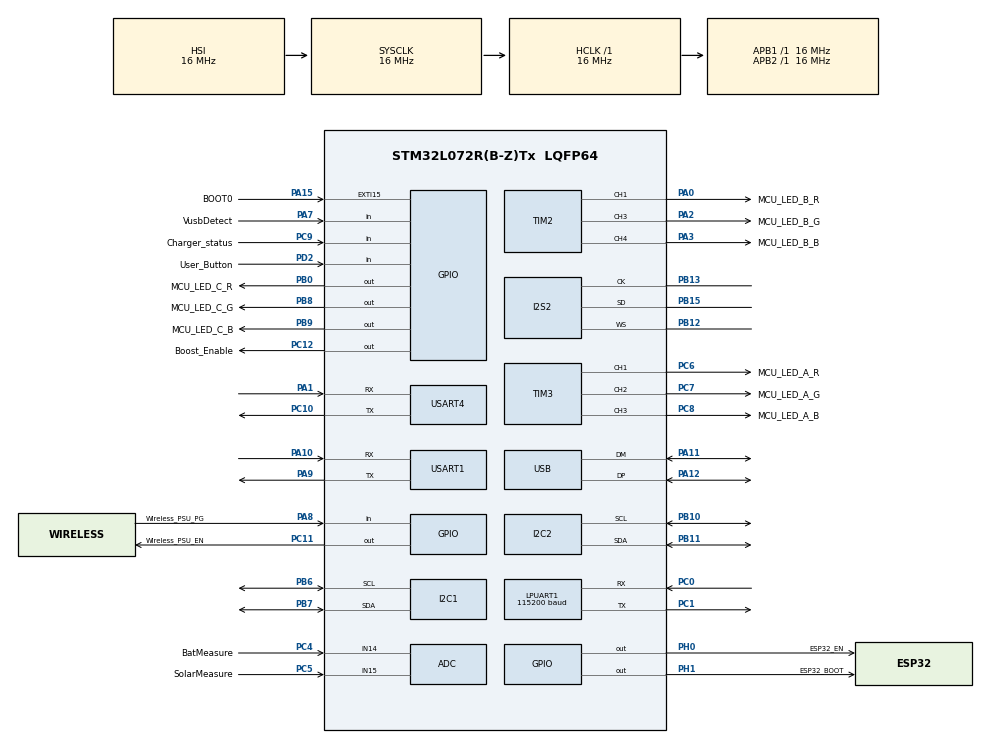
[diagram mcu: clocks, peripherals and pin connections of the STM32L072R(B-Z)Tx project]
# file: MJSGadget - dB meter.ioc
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ADC.DiscontinuousConvMode=ENABLE
Dma.I2C1_RX.1.Direction=DMA_PERIPH_TO_MEMORY
Dma.I2C1_RX.1.Instance=DMA1_Channel3
Dma.I2C1_RX.1.MemDataAlignment=DMA_MDATAALIGN_BYTE
Dma.I2C1_RX.1.MemInc=DMA_MINC_ENABLE
Dma.I2C1_RX.1.Mode=DMA_NORMAL
Dma.I2C1_RX.1.PeriphDataAlignment=DMA_PDATAALIGN_BYTE
Dma.I2C1_RX.1.PeriphInc=DMA_PINC_DISABLE
Dma.I2C1_RX.1.Priority=DMA_PRIORITY_LOW
Dma.I2C1_TX.2.Direction=DMA_MEMORY_TO_PERIPH
Dma.I2C1_TX.2.Instance=DMA1_Channel2
Dma.I2C1_TX.2.MemDataAlignment=DMA_MDATAALIGN_BYTE
Dma.I2C1_TX.2.MemInc=DMA_MINC_ENABLE
Dma.I2C1_TX.2.Mode=DMA_NORMAL
Dma.I2C1_TX.2.PeriphDataAlignment=DMA_PDATAALIGN_BYTE
Dma.I2C1_TX.2.PeriphInc=DMA_PINC_DISABLE
Dma.I2C1_TX.2.Priority=DMA_PRIORITY_LOW
Dma.Request0=SPI2_RX
Dma.Request1=I2C1_RX
Dma.Request2=I2C1_TX
Dma.Request3=USART4_RX
Dma.Request4=USART4_TX
Dma.SPI2_RX.0.Direction=DMA_PERIPH_TO_MEMORY
Dma.SPI2_RX.0.Instance=DMA1_Channel4
Dma.SPI2_RX.0.MemDataAlignment=DMA_MDATAALIGN_HALFWORD
Dma.SPI2_RX.0.MemInc=DMA_MINC_ENABLE
Dma.SPI2_RX.0.Mode=DMA_CIRCULAR
Dma.SPI2_RX.0.PeriphDataAlignment=DMA_PDATAALIGN_HALFWORD
Dma.SPI2_RX.0.PeriphInc=DMA_PINC_DISABLE
Dma.SPI2_RX.0.Priority=DMA_PRIORITY_LOW
Dma.USART4_RX.3.Direction=DMA_PERIPH_TO_MEMORY
Dma.USART4_RX.3.Instance=DMA1_Channel6
Dma.USART4_RX.3.MemDataAlignment=DMA_MDATAALIGN_BYTE
Dma.USART4_RX.3.MemInc=DMA_MINC_ENABLE
Dma.USART4_RX.3.Mode=DMA_CIRCULAR
Dma.USART4_RX.3.PeriphDataAlignment=DMA_PDATAALIGN_BYTE
Dma.USART4_RX.3.PeriphInc=DMA_PINC_DISABLE
Dma.USART4_RX.3.Priority=DMA_PRIORITY_LOW
Dma.USART4_TX.4.Direction=DMA_MEMORY_TO_PERIPH
Dma.USART4_TX.4.Instance=DMA1_Channel7
Dma.USART4_TX.4.MemDataAlignment=DMA_MDATAALIGN_BYTE
Dma.USART4_TX.4.MemInc=DMA_MINC_ENABLE
Dma.USART4_TX.4.Mode=DMA_NORMAL
Dma.USART4_TX.4.PeriphDataAlignment=DMA_PDATAALIGN_BYTE
Dma.USART4_TX.4.PeriphInc=DMA_PINC_DISABLE
Dma.USART4_TX.4.Priority=DMA_PRIORITY_LOW
I2C1.NoStretchMode=I2C_NOSTRETCH_DISABLE
I2C1.Timing=0x00503D58
I2C2.Timing=0x00503D58
I2S2.AudioFreq=I2S_AUDIOFREQ_16K
I2S2.CPOL=I2S_CPOL_LOW
I2S2.DataFormat=I2S_DATAFORMAT_24B
I2S2.ErrorAudioFreq=-2.34 %
I2S2.Instance=SPI$Index
I2S2.Mode=I2S_MODE_MASTER_RX
I2S2.RealAudioFreq=15.625 KHz
I2S2.Standard=I2S_STANDARD_PHILIPS
I2S2.VirtualMode=I2S_MODE_MASTER
LPUART1.BaudRate=115200
LPUART1.OverrunDisableParam=UART_ADVFEATURE_OVERRUN_DISABLE
LPUART1.SwapParam=UART_ADVFEATURE_SWAP_ENABLE
LPUART1.WordLength=UART_WORDLENGTH_8B
Mcu.Family=STM32L0
Mcu.Name=STM32L072R(B-Z)Tx
Mcu.Package=LQFP64
NVIC.DMA1_Channel2_3_IRQn=true\:0\:0\:false\:false\:true\:false\:true\:true
NVIC.DMA1_Channel4_5_6_7_IRQn=true\:3\:0\:true\:false\:true\:false\:true\:true
NVIC.EXTI4_15_IRQn=true\:0\:0\:false\:false\:true\:true\:true\:true
NVIC.I2C1_IRQn=true\:0\:0\:false\:false\:true\:true\:true\:true
NVIC.RTC_IRQn=true\:0\:0\:false\:false\:true\:true\:true\:true
NVIC.USART1_IRQn=true\:0\:0\:false\:false\:true\:true\:true\:true
NVIC.USART4_5_IRQn=true\:0\:0\:false\:false\:true\:true\:true\:true
NVIC.USB_IRQn=true\:0\:0\:false\:false\:true\:false\:true\:true
PA0.GPIO_Label=MCU_LED_B_R
PA0.Signal=S_TIM2_CH1
PA1.Mode=Asynchronous
PA1.Signal=USART4_RX
PA10.Mode=Asynchronous
PA10.Signal=USART1_RX
PA11.Mode=Device
PA11.Signal=USB_DM
PA12.Mode=Device
PA12.Signal=USB_DP
PA13.Mode=Serial_Wire
PA13.Signal=SYS_SWDIO
PA14.Mode=Serial_Wire
PA14.Signal=SYS_SWCLK
PA15.GPIO_Label=BOOT0
PA15.Signal=GPXTI15
PA2.GPIO_Label=MCU_LED_B_G
PA2.Signal=S_TIM2_CH3
PA3.GPIO_Label=MCU_LED_B_B
PA3.Signal=S_TIM2_CH4
PA7.GPIO_Label=VusbDetect
PA7.Signal=GPIO_Input
PA8.GPIO_Label=Wireless_PSU_PG
PA8.Signal=GPIO_Input
PA9.Mode=Asynchronous
PA9.Signal=USART1_TX
PB0.GPIO_Label=MCU_LED_C_R
PB0.PinState=GPIO_PIN_SET
PB0.Signal=GPIO_Output
PB10.Mode=I2C
PB10.Signal=I2C2_SCL
PB11.Mode=I2C
PB11.Signal=I2C2_SDA
PB12.Mode=Half_Duplex_Master
PB12.Signal=I2S2_WS
PB13.Mode=Half_Duplex_Master
PB13.Signal=I2S2_CK
PB15.Mode=Half_Duplex_Master
PB15.Signal=I2S2_SD
PB6.Mode=I2C
PB6.Signal=I2C1_SCL
PB7.Mode=I2C
PB7.Signal=I2C1_SDA
PB8.GPIO_Label=MCU_LED_C_G
PB8.PinState=GPIO_PIN_SET
PB8.Signal=GPIO_Output
PB9.GPIO_Label=MCU_LED_C_B
PB9.PinState=GPIO_PIN_SET
PB9.Signal=GPIO_Output
PC0.Mode=Asynchronous
PC0.Signal=LPUART1_RX
PC1.Mode=Asynchronous
PC1.Signal=LPUART1_TX
PC10.Mode=Asynchronous
PC10.Signal=USART4_TX
PC11.GPIO_Label=Wireless_PSU_EN
PC11.PinState=GPIO_PIN_SET
PC11.Signal=GPIO_Output
PC12.GPIO_Label=Boost_Enable
PC12.Signal=GPIO_Output
PC14-OSC32_IN.Mode=LSE-External-Oscillator
PC14-OSC32_IN.Signal=RCC_OSC32_IN
PC15-OSC32_OUT.Mode=LSE-External-Oscillator
PC15-OSC32_OUT.Signal=RCC_OSC32_OUT
PC4.GPIO_Label=BatMeasure
PC4.Signal=SharedAnalog_PC4
PC5.GPIO_Label=SolarMeasure
PC5.Signal=SharedAnalog_PC5
PC6.GPIO_Label=MCU_LED_A_R
PC6.Signal=S_TIM3_CH1
PC7.GPIO_Label=MCU_LED_A_G
PC7.Signal=S_TIM3_CH2
PC8.GPIO_Label=MCU_LED_A_B
PC8.Signal=S_TIM3_CH3
PC9.GPIO_Label=Charger_status
PC9.Signal=GPIO_Input
PD2.GPIO_Label=User_Button
PD2.GPIO_PuPd=GPIO_PULLUP
PD2.Signal=GPIO_Input
PH0-OSC_IN.GPIO_Label=ESP32_EN
PH0-OSC_IN.PinState=GPIO_PIN_SET
PH0-OSC_IN.Signal=GPIO_Output
PH1-OSC_OUT.GPIO_Label=ESP32_BOOT
PH1-OSC_OUT.Signal=GPIO_Output
ProjectManager.HeapSize=0x100
ProjectManager.StackSize=0x400
ProjectManager.TargetToolchain=STM32CubeIDE
RCC.ADCFreq_Value=16000000
RCC.AHBFreq_Value=16000000
RCC.APB1Freq_Value=16000000
RCC.APB1TimFreq_Value=16000000
RCC.APB2Freq_Value=16000000
RCC.APB2TimFreq_Value=16000000
RCC.HCLKFreq_Value=16000000
RCC.HSE_VALUE=8000000
RCC.HSI16_VALUE=16000000
RCC.HSI48MClockSelection=RCC_USBCLKSOURCE_HSI48
RCC.HSI48_VALUE=48000000
RCC.HSI_VALUE=16000000
RCC.LSE_Drive_Capability=RCC_LSEDRIVE_MEDIUMHIGH
RCC.MSI_VALUE=2097000
RCC.RTCClockSelection=RCC_RTCCLKSOURCE_LSE
RCC.RTCClockSelectionVirtual=RCC_RTCCLKSOURCE_LSE
RCC.SYSCLKFreq_VALUE=16000000
RCC.SYSCLKSource=RCC_SYSCLKSOURCE_HSI
RCC.VCOOutputFreq_Value=48000000
RTC.Date=23
RTC.Format=RTC_FORMAT_BIN
RTC.Hours=13
RTC.Month=RTC_MONTH_NOVEMBER
RTC.WeekDay=RTC_WEEKDAY_SATURDAY
RTC.Year=24
SH.S_TIM2_CH1.0=TIM2_CH1,PWM Generation1 CH1
SH.S_TIM2_CH3.0=TIM2_CH3,PWM Generation3 CH3
SH.S_TIM2_CH4.0=TIM2_CH4,PWM Generation4 CH4
SH.S_TIM3_CH1.0=TIM3_CH1,PWM Generation1 CH1
SH.S_TIM3_CH2.0=TIM3_CH2,PWM Generation2 CH2
SH.S_TIM3_CH3.0=TIM3_CH3,PWM Generation3 CH3
SH.SharedAnalog_PC4.0=GPIO_Analog
SH.SharedAnalog_PC4.1=ADC_IN14,IN14
SH.SharedAnalog_PC5.0=GPIO_Analog
SH.SharedAnalog_PC5.1=ADC_IN15,IN15
TIM2.Channel-PWM\ Generation1\ CH1=TIM_CHANNEL_1
TIM2.Channel-PWM\ Generation3\ CH3=TIM_CHANNEL_3
TIM2.Channel-PWM\ Generation4\ CH4=TIM_CHANNEL_4
TIM3.Channel-PWM\ Generation1\ CH1=TIM_CHANNEL_1
TIM3.Channel-PWM\ Generation2\ CH2=TIM_CHANNEL_2
TIM3.Channel-PWM\ Generation3\ CH3=TIM_CHANNEL_3
TIM6.Prescaler=10
USART1.SwapParam=ADVFEATURE_SWAP_DISABLE
USART1.VirtualMode-Asynchronous=VM_ASYNC
USART4.SwapParam=ADVFEATURE_SWAP_DISABLE
USART4.VirtualMode-Asynchronous=VM_ASYNC
USB_DEVICE.CLASS_NAME_FS=CDC
USB_DEVICE.VirtualMode=Cdc
USB_DEVICE.VirtualModeFS=Cdc_FS
VP_RTC_VS_RTC_Activate.Mode=RTC_Enabled
VP_RTC_VS_RTC_Calendar.Mode=RTC_Calendar
VP_RTC_VS_RTC_WakeUp_intern.Mode=WakeUp
VP_TIM6_VS_ClockSourceINT.Mode=Enable_Timer
VP_USB_DEVICE_VS_USB_DEVICE_CDC_FS.Mode=CDC_FS
board=custom

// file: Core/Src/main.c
/* USER CODE BEGIN Header */
/**
  ******************************************************************************
  * @file           : main.c
  * @brief          : Main program body
  ******************************************************************************
  * @attention
  *
  * Copyright (c) 2024 STMicroelectronics.
  * All rights reserved.
  *
  * This software is licensed under terms that can be found in the LICENSE file
  * in the root directory of this software component.
  * If no LICENSE file comes with this software, it is provided AS-IS.
  *
  ******************************************************************************
  */
/* USER CODE END Header */
#include <aht2x.h>
#include "main.h"
#include "adc.h"
#include "dma.h"
#include "i2c.h"
#include "i2s.h"
#include "usart.h"
#include "rtc.h"
#include "tim.h"
#include "usb_device.h"
#include "gpio.h"

/* USER CODE BEGIN Includes */
#include "config.h"
#include "eeprom.h"
#include "microphone.h"
#include "I2CSensors.h"
#include "utils.h"
#include "measurement.h"
#include "globals.h"
#include "ESP.h"
#include "PowerUtils.h"
#include "usbd_cdc_if.h"
#include "statusCheck.h"
#include "RealTimeClock.h"
#include "sound_measurement.h"
#include "sen5x.h"
#include "sgp40.h"
#include "wsenHIDS.h"
#include "usbd_cdc_if.h"
#include "ssd1306_128x64_i2c.h"
#include "bmp280.h"

/* USER CODE END Includes */

/* USER CODE BEGIN PV */
  bool testDone = false;
  bool ESP_Programming = false;
  bool batteryEmpty = false;
  bool usbinitiated = USBD_FAIL;
  bool usblog = true;
  bool espfailshown = false;

  uint8_t sendpwremail = CLEAR;
  static bool priorUSBpluggedIn = false;
  static bool stlinkpwr = true;
  uint8_t MICstate;
  uint8_t ESPstate;
  bool waitforSamples = false;
  uint8_t count = 0;
  uint8_t hidscount = 0;
  uint8_t u1_rx_buff[16];  // rxbuffer for serial logger
  uint8_t RxData[UART_CDC_DMABUFFERSIZE] = {0};  //rx buffer for USB
  uint8_t sendpwrmaildate = 0;
  uint16_t IndexRxData = 0;
  uint32_t deviceTimeOut = 0;
  uint32_t LastRxTime = 0;
  uint32_t batteryReadTimer = 10000;
  uint32_t timeReadTimer = 0;
  uint32_t sleepTime = 0;
  uint16_t size = 0;

//  Battery_Status charge;
  extern DMA_HandleTypeDef hdma_spi2_rx;

  void check_cli_command();
/* USER CODE END PV */

void SystemClock_Config(void);
/* USER CODE BEGIN PFP */

void SetBatteryReadTimer(uint32_t ticks) {
  batteryReadTimer  = HAL_GetTick() + ticks;
}

void SetTestDone(){
  testDone = true;
  HAL_Delay(250);
  SetDBLED(false, false, true);
  SetStatusLED(LED_OFF, LED_OFF, LED_ON);
  SetVocLED(LED_OFF, LED_OFF, LED_ON);
  HAL_Delay(250);
  SetLEDsOff();
  InitDone();
}

void ESP_Programming_Read_Remaining_DMA()
{
  //ESP programmer section

  if (LastRxTime != 0 && ESP_Programming)
  {
    if ((LastRxTime + 100) < HAL_GetTick()) //120
    {
      HAL_UART_DMAPause(&hlpuart1);
      size = __HAL_DMA_GET_COUNTER(hlpuart1.hdmarx);
      if (size > (UART_CDC_DMABUFFERSIZE / 2))
      {
        size = UART_CDC_DMABUFFERSIZE - size;
      }
      else
      {
        size = (UART_CDC_DMABUFFERSIZE / 2) - size;
      }
      if (size > 0)
      {
        CDC_Transmit_FS(&RxData[IndexRxData], size);
        LastRxTime = 0;
        IndexRxData += size;
      }
      HAL_UART_DMAResume(&hlpuart1);
    }
  }
}
//void HAL_UART_RxCpltCallback(UART_HandleTypeDef *huart)
//{
//  // printf_USB("\r\nDMA counter Full: %d\r\nDMA size Full: %d\r\n", __HAL_DMA_GET_COUNTER(hlpuart1.hdmarx), size);
//  //printf_USB("DMA size Full: %d\r\n", size);
//
//  if (huart->Instance == LPUART1)
//  {
//    CDC_Transmit_FS(&RxData[IndexRxData], (UART_CDC_DMABUFFERSIZE / 2) - size);
//
//    size = 0;
//    IndexRxData = 0;
//    LastRxTime = HAL_GetTick();
//  }
//}
/* USER CODE END PFP */

int main(void)
{

  /* MCU Configuration--------------------------------------------------------*/

  /* Reset of all peripherals, Initializes the Flash interface and the Systick. */
  HAL_Init();

  /* Configure the system clock */
  SystemClock_Config();

  /* Initialize all configured peripherals */
  MX_GPIO_Init();
  MX_DMA_Init();
  MX_I2C1_Init();
  MX_I2S2_Init();
  MX_USART1_UART_Init();
  MX_I2C2_Init();
  MX_TIM2_Init();
  MX_TIM3_Init();
  MX_USART4_UART_Init();
  MX_ADC_Init();
  MX_USB_DEVICE_Init();
  MX_RTC_Init();
  MX_LPUART1_UART_Init();
  MX_TIM6_Init();
  /* USER CODE BEGIN 2 */
  if (Check_USB_PowerOn())
    while (HAL_GetTick() < 650);  // Wait for the USB to become ready

  // General TODO 's
	/*
	 * : Turn on heater if humidity is too high
	 * : LEDs indicator for air quality
	 * : Network not found? Sleep
	 */
  GPIO_InitPWMLEDs(&htim2, &htim3);
  Info("=-=-=-=-=-=WOTS Gadget started.=-=-=-=-=-=");
  BinaryReleaseInfo();
  ReadUint8ArrayEEprom(USBlogstatusConfigAddr, u1_rx_buff, 1);
  Info("usblog status: %s", u1_rx_buff[0]?"on":"off");
  usblog = (bool)u1_rx_buff[0];
  u1_rx_buff[0]= '\0';  //clean the misused buffer
  if(UserButton_Pressed()){
    EnableESPProg();
    ESP_Programming = true;
  }
  else {
    batteryChargeCheck();
//    batteryCharge = ReadBatteryVoltage();
    Error("Battery voltage is: %.02fV", batteryCharge);
#ifdef LARGEBATTERY
    if(batteryCharge <= 3.58) {
#else
    if(batteryCharge <= 3.68) {
#endif
      SetAllREDLED();
      Error("Battery voltage is critical: %.02fV, going in deep sleep. Waking for LED indication %s seconds", batteryCharge, DEEP_SLEEP);
      WalkAllRedLED();
#ifndef STLINK_V3PWR
      Enter_Stop_Mode_for_empty_battery(DEEP_SLEEP);
#endif
      }

  }
  SetVerboseLevel(VERBOSE_ALL);
  HAL_UART_Receive_IT(&huart1, u1_rx_buff, 1);
//  InitClock(&hrtc);

  if (!soundInit(&hdma_spi2_rx, &hi2s2, &htim6, DMA1_Channel4_5_6_7_IRQn)) {
    errorHandler(__func__, __LINE__, __FILE__);
  }
  Device_Init(&hi2c1, &hi2s2, &hadc, &huart4);
  deviceTimeOut = HAL_GetTick() + DEVICE_INIT_TIMEOUT;
  priorUSBpluggedIn = !Check_USB_PowerOn(); // force the status of the SGP40
  if (Check_USB_PowerOn()) {
    printf_USB("Input command followed by Enter or type Helpme\r\n");
  }
#ifdef STLINK_V3PWR
  sen5x_Power_Off(); // to prevent the sen5x and the ESP is during init of the ESP
#endif
  /* USER CODE END 2 */

  /* Infinite loop */
  /* USER CODE BEGIN WHILE */
  while (1) {
    if(TimestampIsReached(batteryReadTimer)){
      Battery_Upkeep();
      batteryReadTimer  = HAL_GetTick() + BATTERY_READ_CYCLE;
      showTime();
    }
    configCheck();
    if ((batteryStatus == BATTERY_LOW || batteryStatus == BATTERY_CRITICAL)  && !EspTurnedOn){
      WalkAllRedLED();
      Sensor.PM_measurementEnabled = false;
#ifdef USE_MAIL
      pwrmailTodaySend();
      if (((batteryStatus == BATTERY_LOW)  || (batteryStatus == BATTERY_CRITICAL)) && (sendpwremail == CLEAR) && !Check_USB_PowerOn()) {
        Debug("charge: %d, sendpwrmail: %d Check_USB_PowerOn(): %d", batteryStatus, sendpwremail, Check_USB_PowerOn());
        setModePowerMail();
        ESP_Upkeep();
      }
#endif
    }

#ifdef USE_MAIL
/*
    // ==== used for email testing at startup in case of a different mail provider
    if ((batteryCharge <= 4.170000) && (sendpwremail == CLEAR) && !EspTurnedOn && (ESPNTPTimeStamp != ESP_NTP_INIT_DELAY) && (!Check_USB_PowerOn())) {
      Debug("Battery voltage is: %fV", batteryCharge);
      Sensor.PM_measurementEnabled = false;
      AllDevicesReady();
      setModePowerMail();
      ESP_Upkeep();
    }
    // ==== end of test mail
*/
#endif
#ifndef STLINK_V3PWR
//==== disable for power measurements in test condition
    stlinkpwr = false;
    if ((batteryStatus == BATTERY_CRITICAL) && (ESPstate == ESP_STATE_RESET) && !Check_USB_PowerOn()){
       batteryEmpty = true;
       // we are going in deep sleep, nearly off and no wakeup from RTC Do not use standby mode,
       // because without a modification on the PCB the ESP32 is activated
       // instead use the stop mode with or without RTC
       //Enter_Standby_Mode();
       Enter_Stop_Mode_for_empty_battery(DEEP_SLEEP); // light up the leds every hour
    }
    else{
      batteryEmpty = false;
    }
    //====
#endif
    if (testDone && !ESP_Programming && (!batteryEmpty || Check_USB_PowerOn())) {
      if (priorUSBpluggedIn != usbPluggedIn) {
        if (IsSGPPresent() && !usbPluggedIn) {
          SetVOCSensorDIS_ENA(true);
        }
        if (((product_name[4] == '4') || (product_name[4] == '5')) && usbPluggedIn) {
          SetVOCSensorDIS_ENA(false);
        }
        if ((product_name[4] != 0) && !Sensor.PM_measurementEnabled && usbPluggedIn) { // if any SEN5X was disabled due to empty battery, enable it when USB power is connected
          Sensor.PM_measurementEnabled = true;
        }
        if (!usbPluggedIn && (HAL_GetTick() > DEVICE_INIT_TIMEOUT)) {
//          Debug("Device time out set in main due to powerstatus shift");
          deviceTimeOut = HAL_GetTick() + DEVICE_TIMEOUT;
        }
        priorUSBpluggedIn = usbPluggedIn;
      }
      UpkeepI2Csensors();
      if ( ((batteryStatus >= BATTERY_GOOD) || stlinkpwr) && Sensor.PM_measurementEnabled) {
        if (!sen5x_Get_sen5x_enable_state()&& usbPluggedIn ) {
          sen5x_enable(0);  // this forces the sen5x to enable when powered
        }
        sen5x_statemachine();
      }
      else if ((batteryStatus <= BATTERY_LOW) && !stlinkpwr && Sensor.PM_measurementEnabled) {
        Info("Battery level insufficient for sen5x operation");
        Sensor.PM_measurementEnabled = false;
        VOCNOx = false;
        if (sen5x_On) {
          sen5x_Power_Off();
        }
      }
      if (SensorProbe.ESP_Present && !espfailshown) {
        ESPstate = ESP_Upkeep();
      }
      else {
        Error("ESP failed during init");
        espfailshown = true;
      }
    }
    if(!testDone && !ESP_Programming && !batteryEmpty){
      Device_Test();  // for device with startup time
    }
    if (!usbPluggedIn) {
      if (!userToggle && AllDevicesReady() && ESPTransmitDone) {     // check if all sensors are ready
        EnabledConnectedDevices();
        Enter_Stop_Mode((batteryCharge<3.90)?SensorProbe.PM_Present?WAIT_WITH_PM+900:WAIT_WITHOUT_PM+900:SensorProbe.PM_Present?WAIT_WITH_PM:WAIT_WITHOUT_PM);
      }
    }
    if (u1_rx_buff[0] != '\0') {
      check_cli_command();
    }

    if (Check_USB_PowerOn() && !ReconfigSet) {
      Process_USB_input(GetUsbRxPointer());
    }
    /* USER CODE END WHILE */

  }
}

void SystemClock_Config(void)
{
  RCC_OscInitTypeDef RCC_OscInitStruct = {0};
  RCC_ClkInitTypeDef RCC_ClkInitStruct = {0};
  RCC_PeriphCLKInitTypeDef PeriphClkInit = {0};

  /** Configure the main internal regulator output voltage
  */
  __HAL_PWR_VOLTAGESCALING_CONFIG(PWR_REGULATOR_VOLTAGE_SCALE1);

  /** Configure LSE Drive Capability
  */
  HAL_PWR_EnableBkUpAccess();
  __HAL_RCC_LSEDRIVE_CONFIG(RCC_LSEDRIVE_MEDIUMHIGH);

  /** Initializes the RCC Oscillators according to the specified parameters
  * in the RCC_OscInitTypeDef structure.
  */
  RCC_OscInitStruct.OscillatorType = RCC_OSCILLATORTYPE_HSI|RCC_OSCILLATORTYPE_LSE
                              |RCC_OSCILLATORTYPE_HSI48;
  RCC_OscInitStruct.LSEState = RCC_LSE_ON;
  RCC_OscInitStruct.HSIState = RCC_HSI_ON;
  RCC_OscInitStruct.HSICalibrationValue = RCC_HSICALIBRATION_DEFAULT;
  RCC_OscInitStruct.HSI48State = RCC_HSI48_ON;
  RCC_OscInitStruct.PLL.PLLState = RCC_PLL_NONE;
  if (HAL_RCC_OscConfig(&RCC_OscInitStruct) != HAL_OK)
  {
    Error_Handler();
  }

  /** Initializes the CPU, AHB and APB buses clocks
  */
  RCC_ClkInitStruct.ClockType = RCC_CLOCKTYPE_HCLK|RCC_CLOCKTYPE_SYSCLK
                              |RCC_CLOCKTYPE_PCLK1|RCC_CLOCKTYPE_PCLK2;
  RCC_ClkInitStruct.SYSCLKSource = RCC_SYSCLKSOURCE_HSI;
  RCC_ClkInitStruct.AHBCLKDivider = RCC_SYSCLK_DIV1;
  RCC_ClkInitStruct.APB1CLKDivider = RCC_HCLK_DIV1;
  RCC_ClkInitStruct.APB2CLKDivider = RCC_HCLK_DIV1;

  if (HAL_RCC_ClockConfig(&RCC_ClkInitStruct, FLASH_LATENCY_0) != HAL_OK)
  {
    Error_Handler();
  }
  PeriphClkInit.PeriphClockSelection = RCC_PERIPHCLK_USART1|RCC_PERIPHCLK_LPUART1
                              |RCC_PERIPHCLK_I2C1|RCC_PERIPHCLK_RTC
                              |RCC_PERIPHCLK_USB;
  PeriphClkInit.Usart1ClockSelection = RCC_USART1CLKSOURCE_PCLK2;
  PeriphClkInit.Lpuart1ClockSelection = RCC_LPUART1CLKSOURCE_PCLK1;
  PeriphClkInit.I2c1ClockSelection = RCC_I2C1CLKSOURCE_PCLK1;
  PeriphClkInit.RTCClockSelection = RCC_RTCCLKSOURCE_LSE;
  PeriphClkInit.UsbClockSelection = RCC_USBCLKSOURCE_HSI48;
  if (HAL_RCCEx_PeriphCLKConfig(&PeriphClkInit) != HAL_OK)
  {
    Error_Handler();
  }
}

/* USER CODE BEGIN 4 */

void check_cli_command() {
  switch (u1_rx_buff[0]){
    case (uint8_t)'a':
      printf("VerboseLevel set to all\r\n");
      SetVerboseLevel(VERBOSE_ALL);
      break;
    case (uint8_t)'e':
      PC_show_Keys();  // show the eeprom stored content conditional on USART or USB
    break;
    case (uint8_t)'f':
      forceNTPupdate();  // sync the time now
    break;
    case (uint8_t)'i':
      printf("VerboseLevel set to info\r\n");
      SetVerboseLevel(VERBOSE_INFO);
      break;
    case (uint8_t)'m':
      printf("VerboseLevel set to minimal\r\n");
      SetVerboseLevel(VERBOSE_MINIMAL);
      break;
    case (uint8_t)'n':
      printf("VerboseLevel set to none\r\n");
      SetVerboseLevel(VERBOSE_NONE);
      break;
    case (uint8_t)'s':
      sen5xReadTimer = HAL_GetTick();  // on request fire up the sen5x
      break;
    case (uint8_t)'t':
      showTime(); // show me the current time
      break;
    case (uint8_t)'u':
      usblog = !usblog; // log info to usb too
      break;
    case (uint8_t)'v':
      BinaryReleaseInfo(); // show me the build
      break;
    default:
      printf("Error unknown request from Serial UART1 (TTY)\r\n");
      printf("\r\n\r\nPossible commands:\r\n\r\n");
      printf("a - VerboseLevel set to all\r\n");
      printf("e - show EEPROM\r\n");
      printf("f - Force NTP time synchronization\r\n");
      printf("i - VerboseLevel set to info\r\n");
      printf("m - VerboseLevel set to minimal\r\n");
      printf("n - VerboseLevel set to none\r\n");
      printf("s - Start particle measurement\r\n");
      printf("t - Show actual system time\r\n");
      printf("u - USB logging toggle\r\n");
      printf("v - Show system version\r\n");
  break;
  }
  u1_rx_buff[0] = '\0';
}

void HAL_UART_RxCpltCallback(UART_HandleTypeDef *huart)
{
  HAL_UART_Receive_IT(&huart1, u1_rx_buff, 1);
//  check_cli_command();
  HAL_UART_Receive_IT(&huart1, u1_rx_buff, 1); //Re-arm the interrupt
}

void HAL_GPIO_EXTI_Callback(uint16_t GPIO_Pin)
{
  /* Prevent unused argument(s) compilation warning */
  UNUSED(GPIO_Pin);
  if (GPIO_Pin == BOOT0_Pin) {
    setuserToggle();
    if (GetPMSensorPresence()) {
      Sensor.PM_measurementEnabled = true;
      sen5x_Set_sen5x_state(false);  // sounds contradictory, but this enables sen5x immediate
    }
  }
}

/* USER CODE END 4 */

void Error_Handler(void)
{
  /* USER CODE BEGIN Error_Handler_Debug */
  /* User can add his own implementation to report the HAL error return state */
  SetAllREDLED();
  __disable_irq();
  while (1)
  {
    Error("Trapped in Error_Handler, wait for reset");

    HAL_Delay(2500);
  }
  /* USER CODE END Error_Handler_Debug */
}
